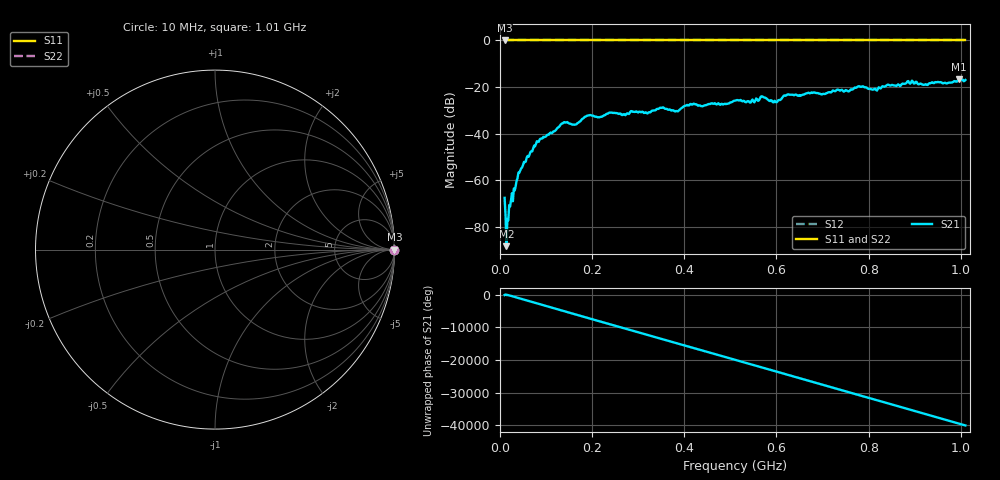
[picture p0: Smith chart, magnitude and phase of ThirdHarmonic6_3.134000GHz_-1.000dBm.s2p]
! 8/17/2025 9:20:19 AM
! C:\ANRITSUVNA\TEMP\TEMP.S2P
! CHANNEL.1
! TR.MEASUREMENT
! RAW.DATA
! RF.CORRECTION.OFF
! AVERAGING.OFF
! IF.BANDWIDTH: 5KHZ
! SWEEPTYPE:  FREQ.SWEEP(Linear)
! Reference Plane Port Info
! PORT:  PORT1  PORT2
! DISTANCE:  0  m  0  m
! TIME:  0  s  0  s
! PHASE.OFFSET:  0  deg.  0  deg.
! LOSS:  0  dB  0  dB
! REF.LOSS:  0  dB  0  dB
! REF.FREQ:  0  Hz  0  Hz
! Power Info
! POWER:  -20  dBm  -20  dBm
! EFF.POWER:  -20  dBm  -20  dBm
! SOURCE.ATTEN:  0  dB  0  dB
! TEST.ATTEN:  0  dB  0  dB
# GHZ S RI R 50.0
! FREQ.GHZ  S11RE  S11IM  S21RE  S21IM  S12RE  S12IM  S22RE  S22IM
!; PortSelection: Port_12
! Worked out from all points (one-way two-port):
!   501 points, 10 MHz to 1.01 GHz, reference 50 ohm
!   highest |S21| = -16.67 dB at 996 MHz (marker M1); lowest = -88.4 dB at 14 MHz (marker M2)
!   lowest |S11| = 0.0 dB at 10 MHz (marker M3)
!   |S11| at or under -10 dB: nowhere
!   |S22| runs from 0.0 to 0.0 dB; largest |S21 - S12| = 1.1
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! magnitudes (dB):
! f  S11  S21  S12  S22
! 10 MHz  0.0  -67.6  0.0  0.0
! 14 MHz  0.0  -88.4  0.0  0.0
! 18 MHz  0.0  -77.3  0.0  0.0
! 24 MHz  0.0  -68.5  0.0  0.0
! 42 MHz  0.0  -56.8  0.0  0.0
! 78 MHz  0.0  -44.5  0.0  0.0
! 136 MHz  0.0  -35.7  0.0  0.0
! 162 MHz  0.0  -36.2  0.0  0.0
! 178 MHz  0.0  -33.8  0.0  0.0
! 344 MHz  0.0  -29.4  0.0  0.0
! 382 MHz  0.0  -30.3  0.0  0.0
! 416 MHz  0.0  -27.6  0.0  0.0
! 510 MHz  0.0  -25.9  0.0  0.0
! 570 MHz  0.0  -24.1  0.0  0.0
! 596 MHz  0.0  -25.9  0.0  0.0
! 622 MHz  0.0  -23.5  0.0  0.0
! 678 MHz  0.0  -22.6  0.0  0.0
! 782 MHz  0.0  -19.9  0.0  0.0
! 814 MHz  0.0  -20.7  0.0  0.0
! 844 MHz  0.0  -19.1  0.0  0.0
! 996 MHz  0.0  -16.7  0.0  0.0
! 1.01 GHz  0.0  -17.0  0.0  0.0
